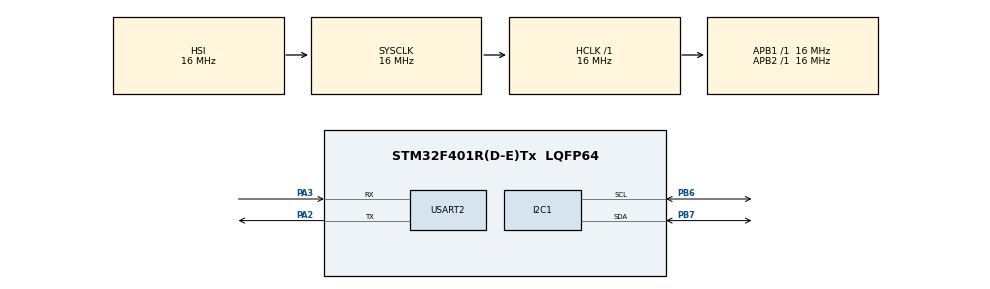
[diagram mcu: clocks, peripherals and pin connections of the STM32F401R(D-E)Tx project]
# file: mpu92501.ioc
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Mcu.Family=STM32F4
Mcu.Name=STM32F401R(D-E)Tx
Mcu.Package=LQFP64
NVIC.PriorityGroup=NVIC_PRIORITYGROUP_4
PA2.Mode=Asynchronous
PA2.Signal=USART2_TX
PA3.Mode=Asynchronous
PA3.Signal=USART2_RX
PB6.Mode=I2C
PB6.Signal=I2C1_SCL
PB7.Mode=I2C
PB7.Signal=I2C1_SDA
ProjectManager.HeapSize=0x200
ProjectManager.StackSize=0x400
ProjectManager.TargetToolchain=STM32CubeIDE
RCC.AHBFreq_Value=16000000
RCC.APB1Freq_Value=16000000
RCC.APB2Freq_Value=16000000
RCC.CortexFreq_Value=16000000
RCC.HSE_VALUE=25000000
RCC.HSI_VALUE=16000000
RCC.LSE_VALUE=32768
RCC.SYSCLKFreq_VALUE=16000000
RCC.VCOOutputFreq_Value=192000000
USART2.VirtualMode=VM_ASYNC
board=custom

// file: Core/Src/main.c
#include "main.h"
#include "i2c.h"
#include "usart.h"
#include "gpio.h"
#include "bmp280.h"
#include "mpu9250.h"
#include "stdio.h"
#include <math.h>

double KalmanAngleX;
double KalmanAngleY;
#define RAD_TO_DEG 57.295779513082320876798154814105
double Kalman_getAngle(Kalman_t *Kalman, double newAngle, double newRate, double dt);
char data[200];
const uint16_t i2c_timeout = 100;
float pressure, temperature, humidity;
const double Accel_Z_corrector = 14418.0;
BMP280_HandleTypedef bmp280;
uint8_t Data[256];
int16_t  AccData[3],  MagData[3], GyroData[3];
uint16_t size;
uint32_t timer;

Kalman_t KalmanX = { .Q_angle = 0.001f, .Q_bias = 0.003f, .R_measure = 0.03f };

Kalman_t KalmanY = { .Q_angle = 0.001f, .Q_bias = 0.003f, .R_measure = 0.03f, };

void SystemClock_Config(void);

int main(void)
{
	  HAL_Init();
	  sprintf((char *)Data, "BMP280 initialization failed\n");
	  HAL_UART_Transmit(&huart2, Data, size, 1000);
	  SystemClock_Config();
	  MX_GPIO_Init();
	  MX_USART2_UART_Init();
	  MX_I2C1_Init();
	  MPU9250_Init();
	  MPU9250_SetAccelRange(ACCEL_RANGE_2G);
	  MPU9250_SetGyroRange(GYRO_RANGE_250DPS);
	  MPU9250_SetDLPFBandwidth(DLPF_BANDWIDTH_184HZ);
	  MPU9250_SetSampleRateDivider(LP_ACCEL_ODR_0_24HZ);

	  bmp280_init_default_params(&bmp280.params);
	  bmp280.addr = BMP280_I2C_ADDRESS_0;
	  bmp280.i2c = &hi2c1;

	  	while (!bmp280_init(&bmp280, &bmp280.params)) {
	  		size = sprintf((char *)Data, "BMP280 initialization failed\n");
	  		HAL_UART_Transmit(&huart2, Data, size, 1000);
	  		HAL_Delay(2000);
	  	}
	  	bool bme280p = bmp280.id == BME280_CHIP_ID;
	  	size = sprintf((char *)Data, "BMP280: found %s\n", bme280p ? "BME280" : "BMP280");
	  	HAL_UART_Transmit(&huart2, Data, size, 1000);
	  /* USER CODE END 2 */

	  /* Infinite loop */
	  /* USER CODE BEGIN WHILE */
	  while (1)
	  {
		  MPU9250_GetData(AccData,MagData,GyroData);
		  //(float)AccData[0],(float)AccData[1],(float)AccData[2]
		  //(float)MagData[0],(float)MagData[1],(float)MagData[2]
		  //(float)GyroData[0],(float)GyroData[1],(float)GyroData[2]
		  //sprintf(data,"X:%.2f    Y:%.2f\r\n",);
		  float accxraw=AccData[0];
		  float accyraw=AccData[1];
		  float acczraw=AccData[2];

		  float gyroxraw=GyroData[0];
		  float gyroyraw=GyroData[1];
		  float gyrozraw=GyroData[2];

		  float ax=accxraw/16384.0;
		  float ay=accyraw/16384.0;
		  float az=acczraw/Accel_Z_corrector;

		  float gx = gyroxraw / 131.0;
		  float gy = gyroyraw / 131.0;
		  float gz = gyrozraw / 131.0;

		  double dt = (double) (HAL_GetTick() - timer) / 1000;
		  timer = HAL_GetTick();

		  double roll;
		  double roll_sqrt=sqrt(accxraw*accxraw+acczraw*acczraw);
		  if(roll_sqrt!=0.0){
			  roll = atan(accyraw / roll_sqrt) * RAD_TO_DEG;
		  }else {
				roll = 0.0;
		  }
		  double pitch=atan2(-accxraw,acczraw)*RAD_TO_DEG;
		  if((pitch < -90 && KalmanAngleY > 90) || (pitch > 90 && KalmanAngleY < -90)){
			  KalmanY.angle = pitch;
			  KalmanAngleY = pitch;
		  }else {
				KalmanAngleY = Kalman_getAngle(&KalmanY, pitch, gy, dt);
		  }
		  if (fabs(KalmanAngleY) > 90)
		  		gx = -gx;

		  KalmanAngleX = Kalman_getAngle(&KalmanX, roll, gy, dt);
		  sprintf(data, "x:%f y:%f \r\n", (float)KalmanAngleX, (float)KalmanAngleY);

		  HAL_UART_Transmit(&huart2, (uint8_t*)data, sizeof(data), 100);
		  HAL_Delay(200);
	    /* USER CODE END WHILE */

	    /* USER CODE BEGIN 3 */
	#if 1
		  		while (!bmp280_read_float(&bmp280, &temperature, &pressure, &humidity)) {
		  			size = sprintf((char *)Data,"Temperature/pressure reading failed\n");
		  			HAL_UART_Transmit(&huart2, Data, size, 1000);
		  			HAL_Delay(2000);
		  		}

		  		size = sprintf((char *)Data,"Pressure: %.2f Pa, Temperature: %.2f C",
		  				pressure, temperature);
		  		HAL_UART_Transmit(&huart2, Data, size, 1000);
		  		if (bme280p) {
		  			size = sprintf((char *)Data,", Humidity: %.2f\n", humidity);
		  			HAL_UART_Transmit(&huart2, Data, size, 1000);
		  		}
		  		else {
		  			size = sprintf((char *)Data, "\n");
		  			HAL_UART_Transmit(&huart2, Data, size, 1000);
		  		}

	#endif
	  }
	  /* USER CODE END 3 */
	}

	/**
	  * @brief System Clock Configuration
	  * @retval None
	  */

void SystemClock_Config(void)
{
  RCC_OscInitTypeDef RCC_OscInitStruct = {0};
  RCC_ClkInitTypeDef RCC_ClkInitStruct = {0};

  /** Configure the main internal regulator output voltage
  */
  __HAL_RCC_PWR_CLK_ENABLE();
  __HAL_PWR_VOLTAGESCALING_CONFIG(PWR_REGULATOR_VOLTAGE_SCALE2);

  /** Initializes the RCC Oscillators according to the specified parameters
  * in the RCC_OscInitTypeDef structure.
  */
  RCC_OscInitStruct.OscillatorType = RCC_OSCILLATORTYPE_HSI;
  RCC_OscInitStruct.HSIState = RCC_HSI_ON;
  RCC_OscInitStruct.HSICalibrationValue = RCC_HSICALIBRATION_DEFAULT;
  RCC_OscInitStruct.PLL.PLLState = RCC_PLL_NONE;
  if (HAL_RCC_OscConfig(&RCC_OscInitStruct) != HAL_OK)
  {
    Error_Handler();
  }

  /** Initializes the CPU, AHB and APB buses clocks
  */
  RCC_ClkInitStruct.ClockType = RCC_CLOCKTYPE_HCLK|RCC_CLOCKTYPE_SYSCLK
                              |RCC_CLOCKTYPE_PCLK1|RCC_CLOCKTYPE_PCLK2;
  RCC_ClkInitStruct.SYSCLKSource = RCC_SYSCLKSOURCE_HSI;
  RCC_ClkInitStruct.AHBCLKDivider = RCC_SYSCLK_DIV1;
  RCC_ClkInitStruct.APB1CLKDivider = RCC_HCLK_DIV1;
  RCC_ClkInitStruct.APB2CLKDivider = RCC_HCLK_DIV1;

  if (HAL_RCC_ClockConfig(&RCC_ClkInitStruct, FLASH_LATENCY_0) != HAL_OK)
  {
    Error_Handler();
  }
}

double Kalman_getAngle(Kalman_t *Kalman, double newAngle, double newRate,
		double dt) {
	double rate = newRate - Kalman->bias;
	Kalman->angle += dt * rate;

	Kalman->P[0][0] += dt
			* (dt * Kalman->P[1][1] - Kalman->P[0][1] - Kalman->P[1][0]
					+ Kalman->Q_angle);
	Kalman->P[0][1] -= dt * Kalman->P[1][1];
	Kalman->P[1][0] -= dt * Kalman->P[1][1];
	Kalman->P[1][1] += Kalman->Q_bias * dt;

	double S = Kalman->P[0][0] + Kalman->R_measure;
	double K[2];
	K[0] = Kalman->P[0][0] / S;
	K[1] = Kalman->P[1][0] / S;

	double y = newAngle - Kalman->angle;
	Kalman->angle += K[0] * y;
	Kalman->bias += K[1] * y;

	double P00_temp = Kalman->P[0][0];
	double P01_temp = Kalman->P[0][1];

	Kalman->P[0][0] -= K[0] * P00_temp;
	Kalman->P[0][1] -= K[0] * P01_temp;
	Kalman->P[1][0] -= K[1] * P00_temp;
	Kalman->P[1][1] -= K[1] * P01_temp;

	return Kalman->angle;
}

void Error_Handler(void)
{
  __disable_irq();
  while (1)
  {
  }
}
